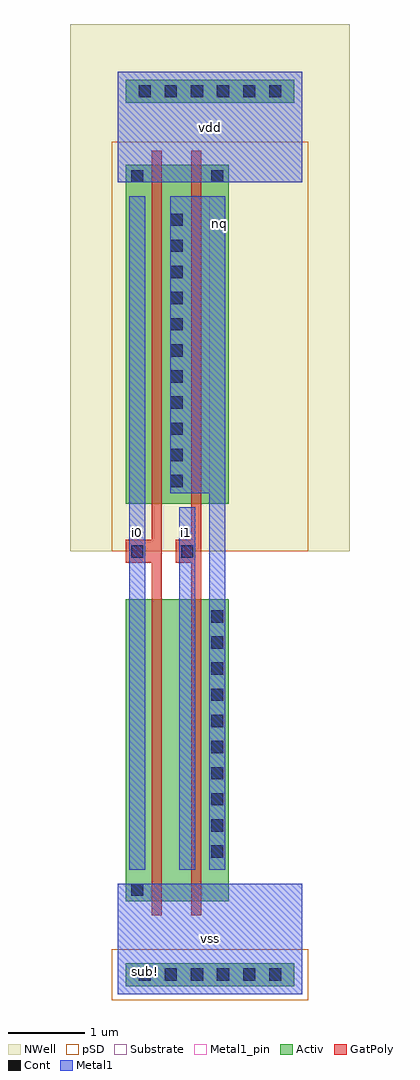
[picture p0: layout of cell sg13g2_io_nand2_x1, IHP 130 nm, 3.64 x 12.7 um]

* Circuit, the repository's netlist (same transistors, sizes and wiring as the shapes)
** sch_path: /home/designer/shared/ihp2603/openpdk-libraries/ihp-sg13g2/sg13g2_io/xschem/sg13g2_io_nand2_x1.sch
.subckt sg13g2_io_nand2_x1 vss i0 nq vdd sub i1
*.PININFO vss:B nq:B i0:B vdd:B sub:B i1:B
R1 vss sub ptap1 A=0.657p P=4.98u
M7 net1 i0 vss sub sg13_lv_nmos w=3.93u l=0.13u ng=1 m=1
M8 nq i0 vdd vdd sg13_lv_pmos w=4.41u l=0.13u ng=1 m=1
M2 nq i1 vdd vdd sg13_lv_pmos w=4.41u l=0.13u ng=1 m=1
M1 nq i1 net1 sub sg13_lv_nmos w=3.93u l=0.13u ng=1 m=1
.ends

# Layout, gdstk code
import gdstk
lib = gdstk.Library(unit=1e-6, precision=5e-09)
def R(c, l, rs):  # rectangles x0, y0, x1, y1
    for r in rs: c.add(gdstk.rectangle(r[:2], r[2:], *l))
def A(c, l, x, y, w, h, nx, ny, dx, dy):  # array of equal rectangles
    R(c, l, [(x+i*dx, y+j*dy, x+i*dx+w, y+j*dy+h) for i in range(nx) for j in range(ny)])
def P(c, l, *ps):  # polygons
    for p in ps: c.add(gdstk.Polygon(p, *l))
Activ = (1, 0)
GatPoly = (5, 0)
Cont = (6, 0)
Metal1 = (8, 0)
Metal1_pin = (8, 2)
pSD = (14, 0)
NWell = (31, 0)
Substrate = (40, 0)

sg13g2_io_nand2_x1 = lib.new_cell('sg13g2_io_nand2_x1')
R(sg13g2_io_nand2_x1, Activ, [(0.105,0.105,2.295,0.405), (0.105,1.21,1.445,5.14), (0.105,6.38,1.445,10.79), (0.105,11.595,2.295,11.895)])
P(sg13g2_io_nand2_x1, GatPoly, [(0.955,1.03),(0.955,5.61),(0.755,5.61),(0.755,5.91),(0.955,5.91),(0.955,10.97),(1.085,10.97),(1.085,1.03)],
  [(0.445,1.03),(0.445,5.61),(0.105,5.61),(0.105,5.91),(0.445,5.91),(0.445,10.97),(0.575,10.97),(0.575,1.03)])
A(sg13g2_io_nand2_x1, Cont, 0.27, 0.175, 0.16, 0.16, 6, 2, 0.34, 11.49)
A(sg13g2_io_nand2_x1, Cont, 1.215, 1.775, 0.16, 0.16, 1, 10, 0, 0.34)
A(sg13g2_io_nand2_x1, Cont, 0.685, 6.595, 0.16, 0.16, 1, 11, 0, 0.34)
R(sg13g2_io_nand2_x1, Cont, [(0.175,1.28,0.335,1.44), (0.175,5.68,0.335,5.84), (0.825,5.68,0.985,5.84), (0.175,10.56,0.335,10.72), (1.215,10.56,1.375,10.72)])
R(sg13g2_io_nand2_x1, Metal1, [(0,0,2.4,1.44), (0.15,1.62,0.36,10.38), (0.8,1.62,1.01,6.335), (0,10.56,2.4,12)])
P(sg13g2_io_nand2_x1, Metal1, [(1.19,1.62),(1.19,6.515),(0.685,6.515),(0.685,10.38),(1.4,10.38),(1.4,1.62)])
R(sg13g2_io_nand2_x1, Metal1_pin, [(0,0,2.4,1.44), (0.15,1.62,0.36,10.38), (0.8,1.62,1.01,6.335), (1.19,1.62,1.4,10.38), (0,10.56,2.4,12)])
R(sg13g2_io_nand2_x1, pSD, [(-0.075,-0.075,2.475,0.585), (-0.075,5.76,2.475,11.09)])
R(sg13g2_io_nand2_x1, NWell, [(-0.62,5.76,3.02,12.62)])
R(sg13g2_io_nand2_x1, Substrate, [(0.105,0.105,2.295,0.405)])
sg13g2_io_nand2_x1.add(gdstk.Label('sub!', (0.36,0.29), layer=63, texttype=0))
sg13g2_io_nand2_x1.add(gdstk.Label('nq', (1.32,10.025), layer=8, texttype=25))
sg13g2_io_nand2_x1.add(gdstk.Label('i1', (0.9,6), layer=8, texttype=25))
sg13g2_io_nand2_x1.add(gdstk.Label('i0', (0.255,6), layer=8, texttype=25))
sg13g2_io_nand2_x1.add(gdstk.Label('vdd', (1.2,11.28), layer=8, texttype=25))
sg13g2_io_nand2_x1.add(gdstk.Label('vss', (1.2,0.72), layer=8, texttype=25))

lib.write_gds('sg13g2_io_nand2_x1.gds')
